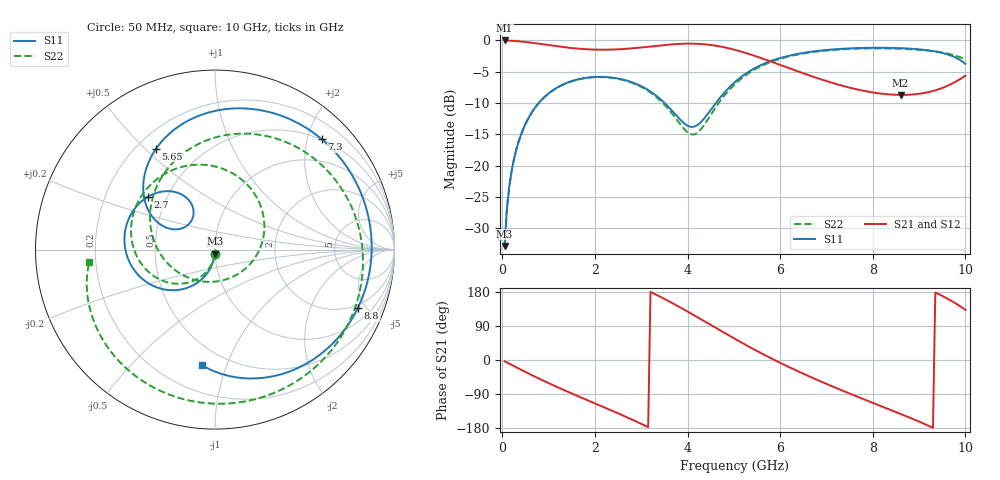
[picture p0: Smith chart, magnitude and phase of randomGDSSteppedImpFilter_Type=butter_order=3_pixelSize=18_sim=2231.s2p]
! freq	dB(S11)	phase(S11)	dB(S12)	phase(S12)
!  dB(S21)	phase(S21)	dB(S22)	phase(S22)
!S-par simulation data
#  GHz  S  DB  R 50
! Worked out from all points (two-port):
!   200 points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, 50 MHz to 10 GHz, reference 50 ohm
!   highest |S21| = -0.01 dB at 50 MHz (marker M1); lowest = -8.7 dB at 8.6 GHz (marker M2)
!   |S21| within 3 dB of the highest: start of sweep to 5.66 GHz
!   lowest |S11| = -32.8 dB at 50 MHz (marker M3), VSWR 1.05, Z = 49.8 - j2.27 ohm
!   |S11| at or under -10 dB: start of sweep to 787.3 MHz; 3.505 GHz to 4.612 GHz (1.107 GHz wide, 27.3 % of centre)
!   |S22| runs from -32.9 to -1.3 dB; largest |S21 - S12| = 0
!   S11 on the Smith chart (normalised r, x): 50 MHz: 1.00, -0.05; 2.7 GHz: 0.39, +0.30; 5.65 GHz: 0.28, +0.54; 7.3 GHz: 0.49, +2.27; 8.8 GHz: 1.78, -4.43; 10 GHz: 0.37, -0.82
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0.05  -32.85 -92.9  -0.01 -3.2  -0.01 -3.2  -32.86 -93.5
0.1  -26.85 -95.9  -0.02 -6.5  -0.02 -6.5  -26.86 -97.2
0.2  -20.91 -101.9  -0.06 -12.8  -0.06 -12.8  -20.92 -104.3
0.5  -13.35 -118.9  -0.25 -31.5  -0.25 -31.5  -13.37 -125.1
1.1  -7.92 -150.1  -0.85 -66.7  -0.85 -66.7  -7.94 -164.2
1.75  -6.04 -179.8  -1.38 -101.5  -1.38 -101.5  -6.07 155.9
2.7  -6.44 142.0  -1.33 -151.5  -1.33 -151.5  -6.52 94.9
3.4  -9.29 119.8  -0.81 167.6  -0.81 167.6  -9.52 36.9
3.85  -12.71 121.1  -0.55 138.2  -0.55 138.2  -13.46 -21.8
4.3  -12.97 148.9  -0.58 106.8  -0.58 106.8  -14.10 -118.3
4.65  -9.63 155.4  -0.89 81.9  -0.89 81.9  -10.24 -176.1
5.05  -6.48 145.4  -1.56 53.9  -1.56 53.9  -6.80 138.7
5.65  -3.73 120.3  -2.98 14.2  -2.98 14.2  -3.90 85.5
6.1  -2.61 99.9  -4.19 -13.3  -4.19 -13.3  -2.73 51.4
6.7  -1.77 72.8  -5.77 -47.2  -5.77 -47.2  -1.87 11.1
7.3  -1.35 45.9  -7.15 -78.5  -7.15 -78.5  -1.44 -24.6
7.85  -1.19 21.4  -8.11 -105.7  -8.11 -105.7  -1.29 -54.4
8.35  -1.18 -1.1  -8.62 -129.9  -8.62 -129.9  -1.29 -80.2
8.6  -1.24 -12.7  -8.70 -142.2  -8.70 -142.2  -1.34 -92.9
8.8  -1.31 -22.1  -8.66 -152.2  -8.66 -152.2  -1.41 -103.2
9.5  -2.00 -59.1  -7.60 169.1  -7.60 169.1  -1.93 -141.8
10  -3.75 -96.4  -5.63 132.2  -5.63 132.2  -3.06 -174.5
